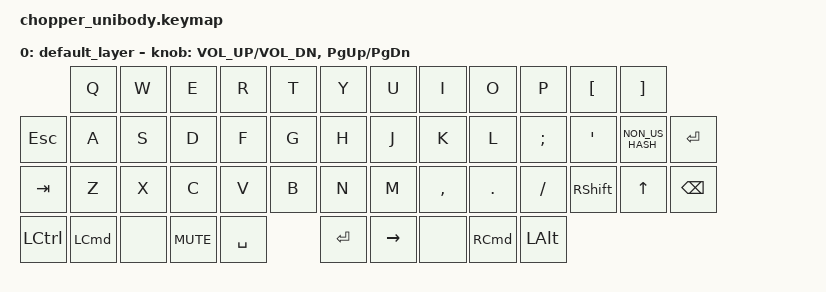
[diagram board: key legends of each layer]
#include <behaviors.dtsi>
#include <dt-bindings/zmk/keys.h>
#include <dt-bindings/zmk/bt.h>
#include <dt-bindings/zmk/outputs.h>

/ {
    keymap {
        compatible = "zmk,keymap";

        default_layer {
            // =========================================================================
            // DEFAULT LAYOUT LAYER (12 + 14 + 14 + 10 = Exactly 50 Bindings)
            // =========================================================================
            bindings = <
    // Physical Row 1 (12 keys - Clean Top Alpha Row)
             &kp Q    &kp W    &kp E    &kp R    &kp T    &kp Y    &kp U    &kp I    &kp O    &kp P    &kp LBKT  &kp RBKT
    
    // Physical Row 2 (14 keys - Complete Home Alpha Row)
    &kp ESC   &kp A    &kp S    &kp D    &kp F    &kp G    &kp H    &kp J    &kp K    &kp L    &kp SEMI &kp SQT   &kp NON_US_HASH &kp RET
    
    // Physical Row 3 (14 keys - Complete Bottom Alpha Row)
    &kp TAB   &kp Z    &kp X    &kp C    &kp V    &kp B    &kp N    &kp M    &kp COMMA &kp DOT &kp FSLH  &kp RSHFT &kp UP    &kp BSPC
    
    // Physical Row 4 (10 thumb/encoder keys - Centered Encoder buttons)
    // Left half: Ctrl, Cmd, None, Mute Switch | Right half: Space, Enter, Right Arrow, None, Cmd, Alt
    &kp LCTRL &kp LCMD &none    &kp C_MUTE &kp SPACE     &kp ENTER &kp RIGHT &none    &kp RCMD  &kp LALT
            >;

            // Encoder Left: Volume Control | Encoder Right: Page Nav Scrolling
            sensor-bindings = <&inc_dec_kp C_VOL_UP C_VOL_DN &inc_dec_kp PG_UP PG_DN>;
        };
    };
};
